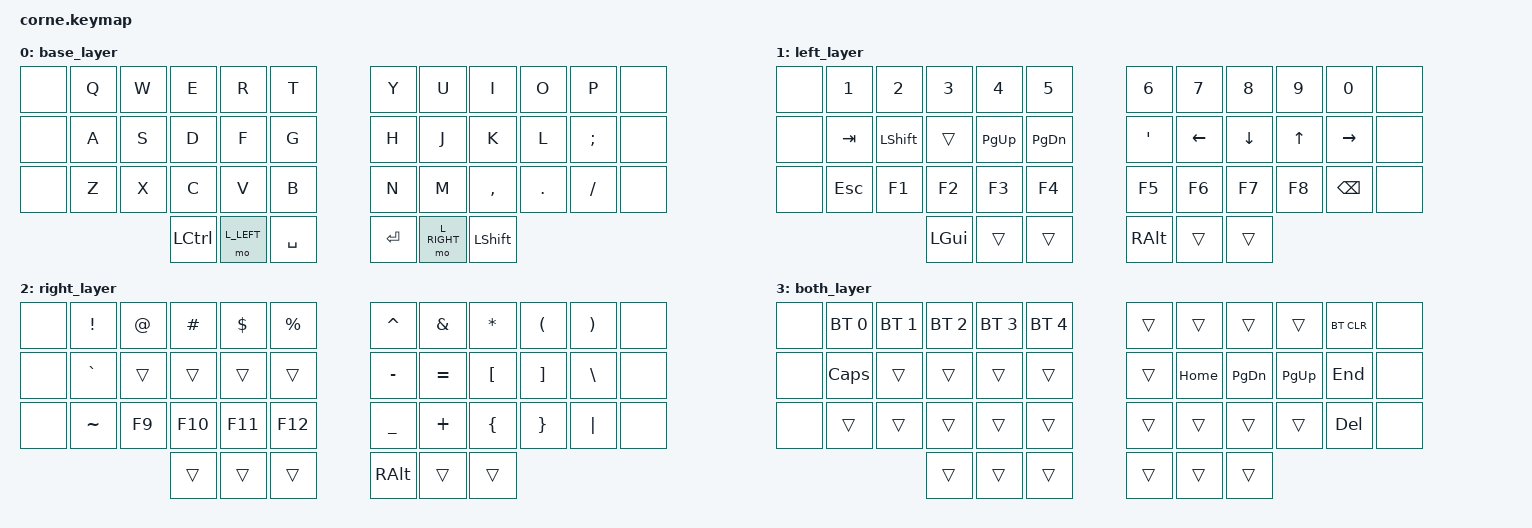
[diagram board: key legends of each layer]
#include <behaviors.dtsi>
#include <dt-bindings/zmk/keys.h>
#include <dt-bindings/zmk/bt.h>

#define BASE 0
#define L_LEFT 1
#define L_RIGHT 2
#define BOTH 3

/ {
	conditional_layers {
		compatible = "zmk,conditional-layers";

		both_layer {
			if-layers = <L_LEFT L_RIGHT>;
			then-layer = <BOTH>;
		};
	};

	keymap {
		compatible = "zmk,keymap";

		base_layer {
			bindings = <
				&none  &kp Q  &kp W  &kp E  &kp R  &kp T      &kp Y  &kp U  &kp I      &kp O    &kp P     &none
				&none  &kp A  &kp S  &kp D  &kp F  &kp G      &kp H  &kp J  &kp K      &kp L    &kp SEMI  &none
				&none  &kp Z  &kp X  &kp C  &kp V  &kp B      &kp N  &kp M  &kp COMMA  &kp DOT  &kp FSLH  &none

				&kp LCTRL &mo L_LEFT  &kp SPACE      &kp RET  &mo L_RIGHT  &kp LSHIFT
			>;
		};

		left_layer {
			bindings = <
				&none  &kp N1  &kp N2  &kp N3  &kp N4  &kp N5      &kp N6  &kp N7  &kp N8  &kp N9  &kp N0  &none
				&none  &kp TAB &kp LSHIFT &trans  &kp PG_UP &kp PG_DN &kp APOS &kp LEFT &kp DOWN &kp UP &kp RIGHT &none
				&none  &kp ESC &kp F1 &kp F2 &kp F3 &kp F4			&kp F5 &kp F6 &kp F7 &kp F8 &kp BSPC &none

				&kp LGUI &trans  &trans      &kp RALT &trans  &trans
			>;
		};

		right_layer {
			bindings = <
				&none  &kp EXCL  &kp AT    &kp HASH  &kp DLLR  &kp PRCNT      &kp CARET  &kp AMPS  &kp STAR  &kp LPAR  &kp RPAR  &none
				&none  &kp GRAVE &trans    &trans     &trans    &trans         &kp MINUS  &kp EQUAL &kp LBKT  &kp RBKT  &kp BSLH  &none
				&none  &kp TILDE &kp F9 &kp F10 &kp F11 &kp F12				&kp UNDER  &kp PLUS  &kp LBRC  &kp RBRC  &kp PIPE  &none

				&trans  &trans  &trans      &kp RALT &trans  &trans
			>;
		};

		both_layer {
			bindings = <
				&none  &bt BT_SEL 0 &bt BT_SEL 1 &bt BT_SEL 2 &bt BT_SEL 3 &bt BT_SEL 4 &trans  &trans  &trans  &trans  &bt BT_CLR &none
				&none  &kp CAPS &trans  &trans  &trans  &trans      &trans  &kp HOME &kp PG_DN &kp PG_UP &kp END &none
				&none  &trans  &trans  &trans  &trans  &trans      &trans  &trans  &trans  &trans  &kp DEL &none

				&trans  &trans  &trans      &trans  &trans  &trans
			>;
		};
	};
};
